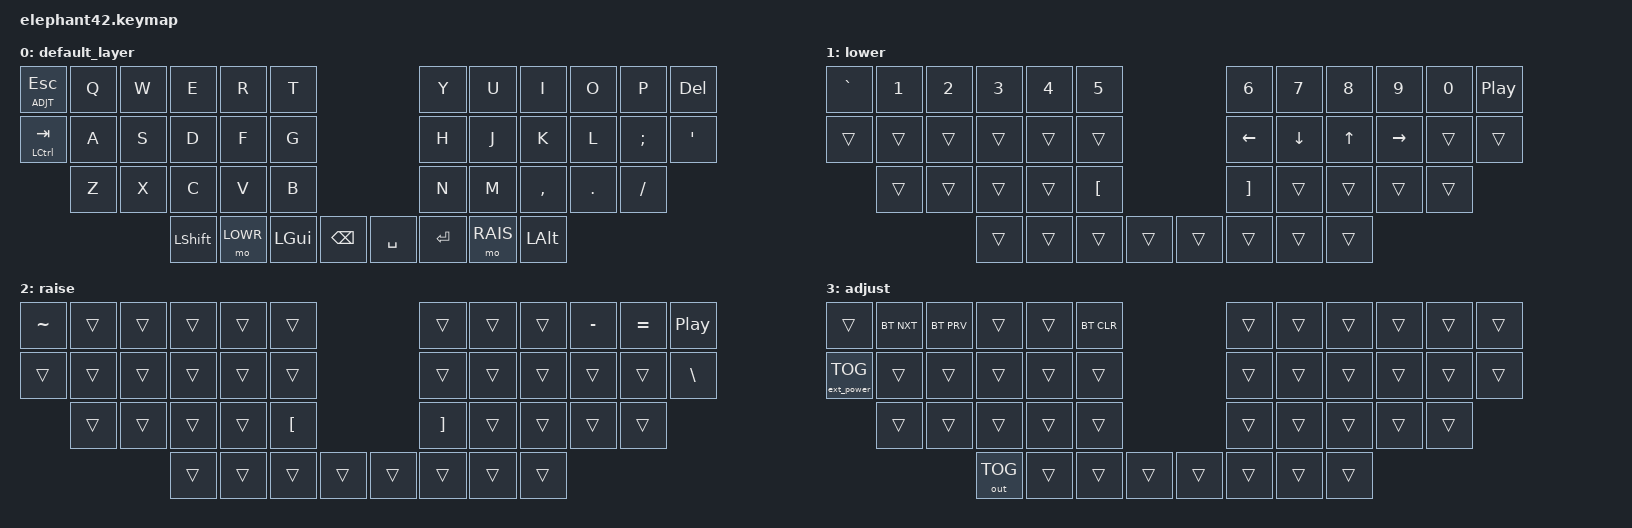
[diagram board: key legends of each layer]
/*
 * Copyright (c) 2021 The ZMK Contributors
 *
 * SPDX-License-Identifier: MIT
 */

#include <behaviors.dtsi>
#include <dt-bindings/zmk/keys.h>
#include <dt-bindings/zmk/bt.h>
#include <dt-bindings/zmk/outputs.h>
// #include <dt-bindings/zmk/rgb.h>
#include <dt-bindings/zmk/ext_power.h>

#define LOWR 1
#define RAIS 2
#define ADJT 3

/ {
  chosen {
    zephyr,display = &oled;
  };

  keymap {
    compatible = "zmk,keymap";

    default_layer {
      bindings = <
  &lt ADJT ESC  &kp Q &kp W &kp E     &kp R    &kp T                          &kp Y     &kp U    &kp I     &kp O   &kp P    &kp DEL
  &mt LCTRL TAB &kp A &kp S &kp D     &kp F    &kp G                          &kp H     &kp J    &kp K     &kp L   &kp SEMI &kp SQT
                &kp Z &kp X &kp C     &kp V    &kp B                          &kp N     &kp M    &kp COMMA &kp DOT &kp FSLH
                            &kp LSHFT &mo LOWR &kp LGUI &kp BSPC    &kp SPACE &kp ENTER &mo RAIS &kp LALT
      >;
    };

    lower {
      bindings = <
  &kp GRAVE &kp N1 &kp N2 &kp N3 &kp N4 &kp N5                         &kp N6   &kp N7   &kp N8 &kp N9    &kp N0 &kp C_PLAY_PAUSE
  &trans    &trans &trans &trans &trans &trans                         &kp LEFT &kp DOWN &kp UP &kp RIGHT &trans &trans
            &trans &trans &trans &trans &kp LBKT                       &kp RBKT &trans   &trans &trans    &trans
                                 &trans &trans &trans &trans    &trans &trans   &trans   &trans
      >;
    };
    raise {
      bindings = <
  &kp TILDE &trans &trans &trans &trans &trans                          &trans   &trans &trans &kp MINUS &kp EQUAL &kp C_PLAY_PAUSE
  &trans    &trans &trans &trans &trans &trans                          &trans   &trans &trans &trans    &trans    &kp BSLH
            &trans &trans &trans &trans &kp LBKT                        &kp RBKT &trans &trans &trans    &trans
                                 &trans &trans &trans &trans    &trans  &trans   &trans &trans
      >;
    };

    adjust {
      bindings = <
  &trans &bt BT_NXT &bt BT_PRV &trans       &trans &bt BT_CLR              &trans &trans &trans &trans &trans &trans
  &ext_power EP_TOG &trans &trans &trans    &trans &trans                  &trans &trans &trans &trans &trans &trans
         &trans     &trans     &trans       &trans &trans                  &trans &trans &trans &trans &trans
                               &out OUT_TOG &trans &trans &trans    &trans &trans &trans &trans
      >;
    };
  };
};

// &led_strip {
//     chain-length = <6>;
// };

&pro_micro_i2c {
    status = "okay";

    oled: ssd1306@3c {
        compatible = "solomon,ssd1306fb";
        reg = <0x3c>;
        width = <128>;
        height = <32>;
        segment-offset = <0>;
        page-offset = <0>;
        display-offset = <0>;
        multiplex-ratio = <31>;
        segment-remap;
        com-invdir;
        com-sequential;
        inversion-on;
        prechargep = <0x22>;
    };
};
